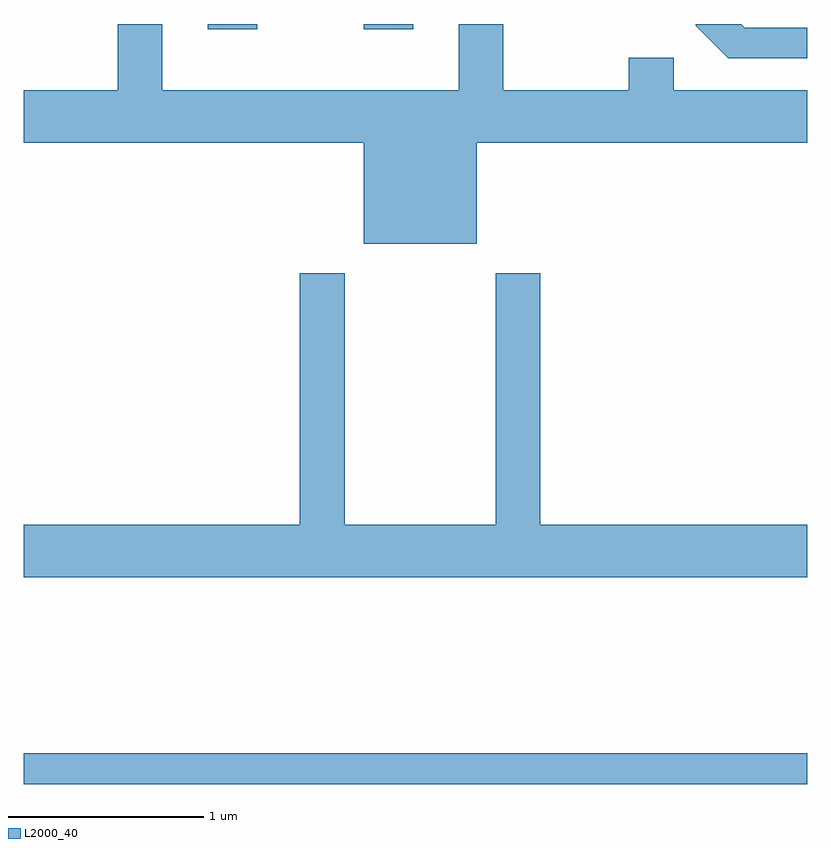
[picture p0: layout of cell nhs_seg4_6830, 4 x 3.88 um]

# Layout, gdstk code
import gdstk
lib = gdstk.Library(unit=1e-6, precision=1e-09)
def R(c, l, rs):  # rectangles x0, y0, x1, y1
    for r in rs: c.add(gdstk.rectangle(r[:2], r[2:], *l))
def P(c, l, *ps):  # polygons
    for p in ps: c.add(gdstk.Polygon(p, *l))
L2000_40 = (2000, 40)

nhs_seg4_6830 = lib.new_cell('nhs_seg4_6830')
R(nhs_seg4_6830, L2000_40, [(385.611,1318.101,389.611,1318.259), (386.551,1321.956,386.804,1321.982), (387.346,1321.956,387.599,1321.982)])
P(nhs_seg4_6830, L2000_40, [(387.924,1321.376),(389.611,1321.376),(389.611,1321.644),(388.929,1321.644),(388.929,1321.809),(388.701,1321.809),(388.701,1321.644),(388.059,1321.644),(388.059,1321.982),(387.831,1321.982),(387.831,1321.644),(386.319,1321.644),(386.319,1321.982),(386.091,1321.982),(386.091,1321.644),(385.611,1321.644),(385.611,1321.376),(387.346,1321.376),(387.346,1320.861),(387.924,1320.861)],
  [(389.611,1321.964),(389.292,1321.964),(389.274,1321.982),(389.041,1321.982),(389.041,1321.974),(389.209,1321.806),(389.611,1321.806)],
  [(389.611,1319.424),(388.249,1319.424),(388.249,1320.709),(388.021,1320.709),(388.021,1319.424),(387.249,1319.424),(387.249,1320.709),(387.021,1320.709),(387.021,1319.424),(385.611,1319.424),(385.611,1319.156),(389.611,1319.156)])

lib.write_gds('nhs_seg4_6830.gds')
